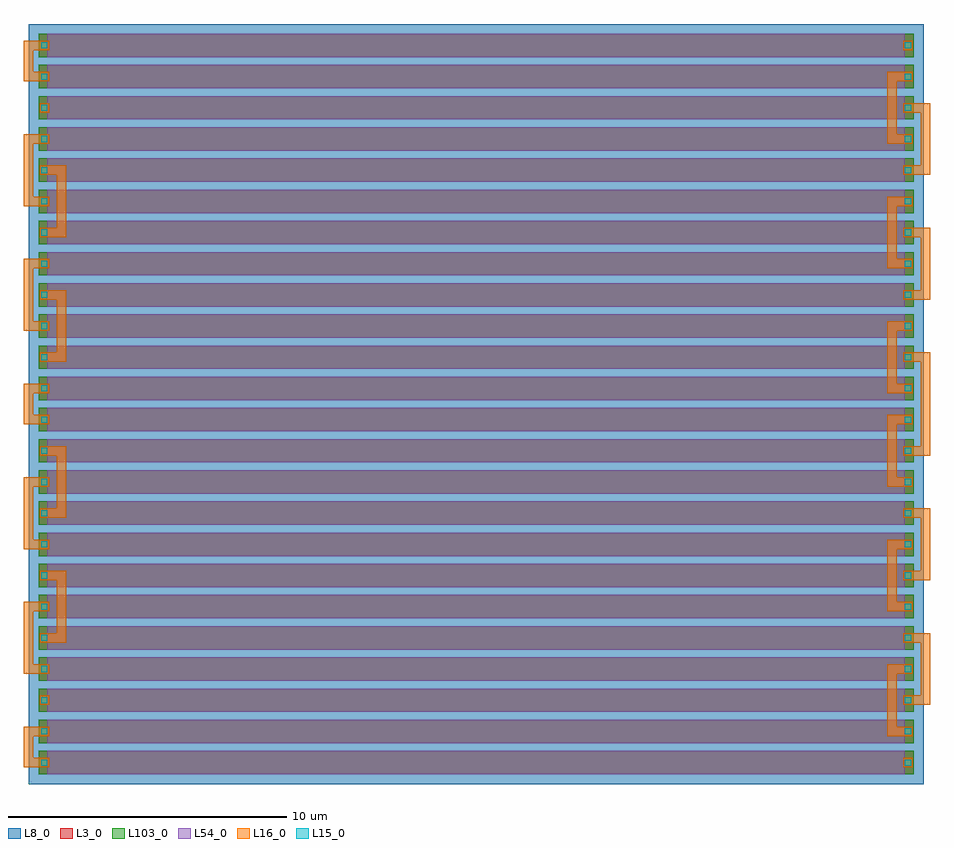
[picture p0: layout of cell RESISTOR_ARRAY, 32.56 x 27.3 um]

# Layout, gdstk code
import gdstk
lib = gdstk.Library(unit=1e-6, precision=1e-09)
def R(c, l, rs):  # rectangles x0, y0, x1, y1
    for r in rs: c.add(gdstk.rectangle(r[:2], r[2:], *l))
def A(c, l, x, y, w, h, nx, ny, dx, dy):  # array of equal rectangles
    R(c, l, [(x+i*dx, y+j*dy, x+i*dx+w, y+j*dy+h) for i in range(nx) for j in range(ny)])
L3_0 = (3, 0)
L8_0 = (8, 0)
L15_0 = (15, 0)
L16_0 = (16, 0)
L54_0 = (54, 0)
L103_0 = (103, 0)

resistor_array = lib.new_cell('RESISTOR_ARRAY')
A(resistor_array, L3_0, -0.32, 0, 31.44, 0.84, 1, 24, 0, 1.12)
A(resistor_array, L8_0, -0.67, -0.35, 32.14, 1.54, 1, 24, 0, 1.12)
A(resistor_array, L15_0, -0.22, 0.31, 0.22, 0.22, 1, 24, 0, 1.12)
A(resistor_array, L15_0, 30.8, 0.31, 0.22, 0.22, 1, 24, 0, 1.12)
A(resistor_array, L16_0, -0.85, 0.25, 0.34, 1.46, 1, 3, 0, 12.32)
A(resistor_array, L16_0, -0.28, 0.25, 0.34, 0.34, 1, 24, 0, 1.12)
A(resistor_array, L16_0, 30.74, 0.25, 0.34, 0.34, 1, 24, 0, 1.12)
A(resistor_array, L16_0, -0.51, 1.37, 0.23, 0.34, 1, 6, 0, 2.24)
A(resistor_array, L16_0, 30.17, 1.37, 0.34, 2.58, 1, 3, 0, 4.48)
A(resistor_array, L16_0, 30.51, 1.37, 0.29, 0.34, 1, 6, 0, 2.24)
A(resistor_array, L16_0, 30.8, 2.49, 0.91, 0.34, 1, 5, 0, 2.24)
A(resistor_array, L16_0, -0.28, 4.73, 0.91, 0.34, 1, 4, 0, 2.24)
A(resistor_array, L16_0, -0.51, 13.69, 0.23, 0.34, 1, 6, 0, 2.24)
A(resistor_array, L16_0, 30.17, 13.69, 0.34, 2.58, 1, 3, 0, 4.48)
A(resistor_array, L16_0, 30.51, 13.69, 0.29, 0.34, 1, 6, 0, 2.24)
A(resistor_array, L16_0, -0.28, 14.81, 0.91, 0.34, 1, 4, 0, 2.24)
A(resistor_array, L16_0, 30.8, 14.81, 0.91, 0.34, 1, 5, 0, 2.24)
R(resistor_array, L16_0, [(-0.51,0.25,-0.28,0.59), (31.37,2.49,31.71,5.07), (-0.85,3.61,-0.51,6.19), (0.34,4.73,0.68,7.31), (31.37,6.97,31.71,9.55), (-0.85,8.09,-0.51,10.67), (0.34,9.21,0.68,11.79), (31.37,11.45,31.71,15.15), (0.34,14.81,0.68,17.39), (-0.85,15.93,-0.51,18.51), (31.37,17.05,31.71,19.63), (0.34,19.29,0.68,21.87), (-0.85,20.41,-0.51,22.99), (31.37,21.53,31.71,24.11), (-0.51,26.01,-0.28,26.35)])
A(resistor_array, L54_0, 0, 0, 30.8, 0.84, 1, 24, 0, 1.12)
A(resistor_array, L103_0, -0.32, 0, 31.44, 0.84, 1, 24, 0, 1.12)

lib.write_gds('RESISTOR_ARRAY.gds')
